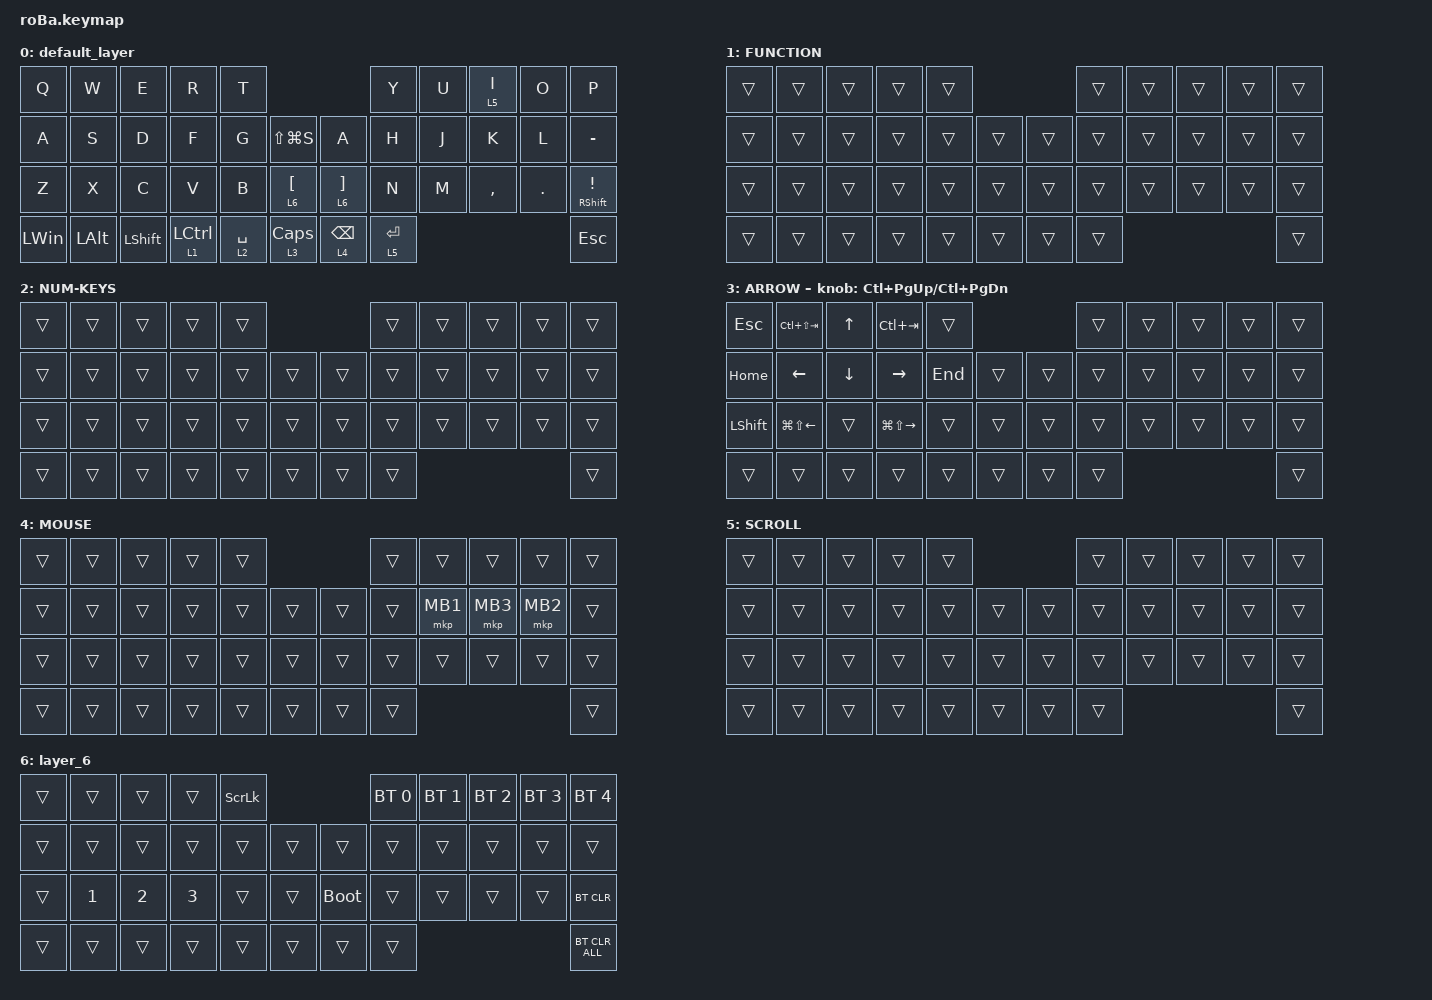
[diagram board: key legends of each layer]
#include <behaviors.dtsi>
#include <dt-bindings/zmk/bt.h>
#include <dt-bindings/zmk/keys.h>
#include <dt-bindings/zmk/pointing.h>

#define MOUSE 4
#define SCROLL 5
#define NUM 6

&mt {
    flavor = "balanced";
    quick-tap-ms = <0>;
};

/ {
    combos {
        compatible = "zmk,combos";

        tab {
            bindings = <&kp TAB>;
            key-positions = <11 12>;
        };

        shift_tab {
            bindings = <&kp LS(TAB)>;
            key-positions = <12 13>;
        };

        muhennkann {
            bindings = <&to_layer_0 INT_MUHENKAN>;
            key-positions = <11 10>;
        };

        double_quotation {
            bindings = <&kp DOUBLE_QUOTES>;
            key-positions = <20 21>;
        };

        eq {
            bindings = <&kp EQUAL>;
            key-positions = <24 25>;
        };
    };

    macros {
        to_layer_0: to_layer_0 {
            compatible = "zmk,behavior-macro-one-param";
            #binding-cells = <1>;
            bindings = <&to 0 &macro_param_1to1 &kp MACRO_PLACEHOLDER>;
            label = "TO_LAYER_0";
        };
    };

    behaviors {
        lt_to_layer_0: lt_to_layer_0 {
            compatible = "zmk,behavior-hold-tap";
            label = "LAYER_TAP_TO_0";
            bindings = <&mo>, <&to_layer_0>;

            #binding-cells = <2>;
            tapping-term-ms = <200>;
        };
    };

    keymap {
        compatible = "zmk,keymap";

        default_layer {
            bindings = <
&kp Q         &kp W         &kp E           &kp R               &kp T                                                     &kp Y        &kp U  &lt 5 I    &kp O    &kp P
&kp A         &kp S         &kp D           &kp F               &kp G        &kp LS(LG(S))           &kp A                &kp H        &kp J  &kp K      &kp L    &kp MINUS
&kp Z         &kp X         &kp C           &kp V               &kp B        &lt 6 LEFT_BRACKET      &lt 6 RIGHT_BRACKET  &kp N        &kp M  &kp COMMA  &kp DOT  &mt RIGHT_SHIFT EXCLAMATION
&kp LEFT_WIN  &kp LEFT_ALT  &kp LEFT_SHIFT  &lt 1 LEFT_CONTROL  &lt 2 SPACE  &lt 3 CAPSLOCK          &lt 4 BACKSPACE      &lt 5 ENTER                             &kp ESCAPE
            >;
        };

        FUNCTION {
            bindings = <
&trans  &trans  &trans  &trans  &trans                      &trans  &trans  &trans  &trans  &trans
&trans  &trans  &trans  &trans  &trans  &trans      &trans  &trans  &trans  &trans  &trans  &trans
&trans  &trans  &trans  &trans  &trans  &trans      &trans  &trans  &trans  &trans  &trans  &trans
&trans  &trans  &trans  &trans  &trans  &trans      &trans  &trans                          &trans
            >;
        };

        NUM-KEYS {
            bindings = <
&trans  &trans  &trans  &trans  &trans                      &trans  &trans  &trans  &trans  &trans
&trans  &trans  &trans  &trans  &trans  &trans      &trans  &trans  &trans  &trans  &trans  &trans
&trans  &trans  &trans  &trans  &trans  &trans      &trans  &trans  &trans  &trans  &trans  &trans
&trans  &trans  &trans  &trans  &trans  &trans      &trans  &trans                          &trans
            >;
        };

        ARROW {
            bindings = <
&kp ESCAPE      &kp LC(LS(TAB))         &kp UP_ARROW    &kp LC(TAB)              &trans                       &trans  &trans  &trans  &trans  &trans
&kp HOME        &kp LEFT_ARROW          &kp DOWN_ARROW  &kp RIGHT_ARROW          &kp END  &trans      &trans  &trans  &trans  &trans  &trans  &trans
&kp LEFT_SHIFT  &kp LG(LS(LEFT_ARROW))  &trans          &kp LG(LS(RIGHT_ARROW))  &trans   &trans      &trans  &trans  &trans  &trans  &trans  &trans
&trans          &trans                  &trans          &trans                   &trans   &trans      &trans  &trans                          &trans
            >;

            sensor-bindings = <&inc_dec_kp LC(PAGE_UP) LC(PAGE_DOWN)>;
        };

        MOUSE {
            bindings = <
&trans  &trans  &trans  &trans  &trans                      &trans  &trans    &trans    &trans    &trans
&trans  &trans  &trans  &trans  &trans  &trans      &trans  &trans  &mkp MB1  &mkp MB3  &mkp MB2  &trans
&trans  &trans  &trans  &trans  &trans  &trans      &trans  &trans  &trans    &trans    &trans    &trans
&trans  &trans  &trans  &trans  &trans  &trans      &trans  &trans                                &trans
            >;
        };

        SCROLL {
            bindings = <
&trans  &trans  &trans  &trans  &trans                      &trans  &trans  &trans  &trans  &trans
&trans  &trans  &trans  &trans  &trans  &trans      &trans  &trans  &trans  &trans  &trans  &trans
&trans  &trans  &trans  &trans  &trans  &trans      &trans  &trans  &trans  &trans  &trans  &trans
&trans  &trans  &trans  &trans  &trans  &trans      &trans  &trans                          &trans
            >;
        };

        layer_6 {
            bindings = <
&trans  &trans        &trans        &trans        &kp SCROLLLOCK                           &bt BT_SEL 0  &bt BT_SEL 1  &bt BT_SEL 2  &bt BT_SEL 3  &bt BT_SEL 4
&trans  &trans        &trans        &trans        &trans          &trans      &trans       &trans        &trans        &trans        &trans        &trans
&trans  &kp NUMBER_1  &kp NUMBER_2  &kp NUMBER_3  &trans          &trans      &bootloader  &trans        &trans        &trans        &trans        &bt BT_CLR
&trans  &trans        &trans        &trans        &trans          &trans      &trans       &trans                                                  &bt BT_CLR_ALL
            >;
        };
    };
};
